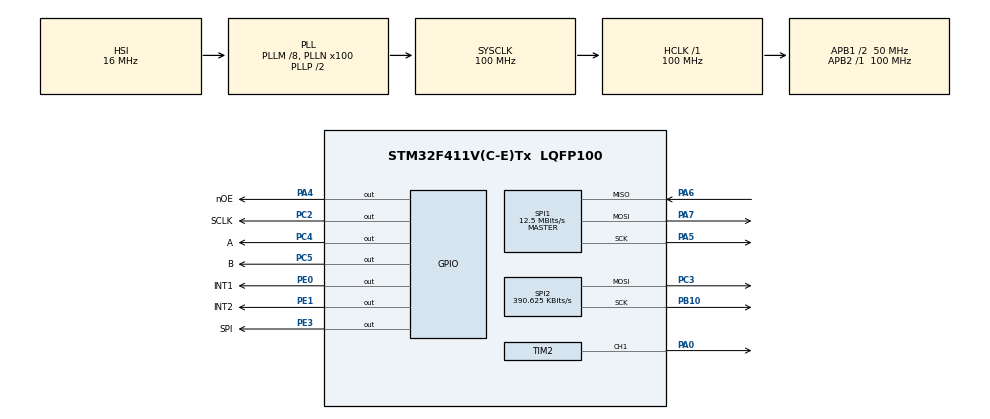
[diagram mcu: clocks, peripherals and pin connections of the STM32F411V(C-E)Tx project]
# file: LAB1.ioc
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Mcu.Family=STM32F4
Mcu.Name=STM32F411V(C-E)Tx
Mcu.Package=LQFP100
NVIC.PriorityGroup=NVIC_PRIORITYGROUP_4
NVIC.TIM1_UP_TIM10_IRQn=true\:0\:0\:false\:false\:true\:true\:true\:true
PA0-WKUP.Signal=S_TIM2_CH1_ETR
PA13.Mode=Serial_Wire
PA13.Signal=SYS_JTMS-SWDIO
PA14.Mode=Serial_Wire
PA14.Signal=SYS_JTCK-SWCLK
PA4.GPIO_Label=nOE
PA4.Signal=GPIO_Output
PA5.Mode=Full_Duplex_Master
PA5.Signal=SPI1_SCK
PA6.Mode=Full_Duplex_Master
PA6.Signal=SPI1_MISO
PA7.Mode=Full_Duplex_Master
PA7.Signal=SPI1_MOSI
PB10.Mode=TX_Only_Simplex_Unidirect_Master
PB10.Signal=SPI2_SCK
PC2.GPIO_Label=SCLK
PC2.Signal=GPIO_Output
PC3.Mode=TX_Only_Simplex_Unidirect_Master
PC3.Signal=SPI2_MOSI
PC4.GPIO_Label=A
PC4.Signal=GPIO_Output
PC5.GPIO_Label=B
PC5.Signal=GPIO_Output
PE0.GPIO_Label=INT1
PE0.Signal=GPIO_Output
PE1.GPIO_Label=INT2
PE1.Signal=GPIO_Output
PE3.GPIO_Label=SPI
PE3.Signal=GPIO_Output
PH0\ -\ OSC_IN.Mode=HSE-External-Oscillator
PH0\ -\ OSC_IN.Signal=RCC_OSC_IN
PH1\ -\ OSC_OUT.Mode=HSE-External-Oscillator
PH1\ -\ OSC_OUT.Signal=RCC_OSC_OUT
ProjectManager.HeapSize=0x200
ProjectManager.StackSize=0x400
ProjectManager.TargetToolchain=STM32CubeIDE
RCC.48MHZClocksFreq_Value=50000000
RCC.AHBFreq_Value=100000000
RCC.APB1CLKDivider=RCC_HCLK_DIV2
RCC.APB1Freq_Value=50000000
RCC.APB1TimFreq_Value=100000000
RCC.APB2Freq_Value=100000000
RCC.APB2TimFreq_Value=100000000
RCC.CortexFreq_Value=100000000
RCC.HCLKFreq_Value=100000000
RCC.HSE_VALUE=25000000
RCC.HSI_VALUE=16000000
RCC.LSE_VALUE=32768
RCC.PLLM=8
RCC.PLLN=100
RCC.SYSCLKFreq_VALUE=100000000
RCC.SYSCLKSource=RCC_SYSCLKSOURCE_PLLCLK
RCC.VCOOutputFreq_Value=200000000
SH.S_TIM2_CH1_ETR.0=TIM2_CH1,PWM Generation1 CH1
SPI1.BaudRatePrescaler=SPI_BAUDRATEPRESCALER_8
SPI1.CalculateBaudRate=12.5 MBits/s
SPI1.Direction=SPI_DIRECTION_2LINES
SPI1.Mode=SPI_MODE_MASTER
SPI1.VirtualType=VM_MASTER
SPI2.BaudRatePrescaler=SPI_BAUDRATEPRESCALER_128
SPI2.CalculateBaudRate=390.625 KBits/s
SPI2.Direction=SPI_DIRECTION_2LINES
SPI2.Mode=SPI_MODE_MASTER
SPI2.VirtualType=VM_MASTER
TIM1.Period=1000-1
TIM1.Prescaler=1000-1
TIM2.Channel-PWM\ Generation1\ CH1=TIM_CHANNEL_1
VP_TIM1_VS_ClockSourceINT.Mode=Internal
VP_TIM2_VS_ClockSourceINT.Mode=Internal
board=custom

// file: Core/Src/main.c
/* USER CODE BEGIN Header */
/**
  ******************************************************************************
  * @file           : main.c
  * @brief          : Main program body
  ******************************************************************************
  * @attention
  *
  * Copyright (c) 2023 STMicroelectronics.
  * All rights reserved.
  *
  * This software is licensed under terms that can be found in the LICENSE file
  * in the root directory of this software component.
  * If no LICENSE file comes with this software, it is provided AS-IS.
  *
  ******************************************************************************
  */
/* USER CODE END Header */
#include "main.h"
#include "spi.h"
#include "tim.h"
#include "gpio.h"
#include "Accelerometer.h"
#include "Gyro.h"

/* USER CODE BEGIN PD */
#define DUMMY                                                    0x00
#define TIMEOUT_TIME                                             0x1000

// Размеры экрана в пикселях
#define DISPLAY_Height 16
#define DISPLAY_Width 32
/* USER CODE END PD */

/* USER CODE BEGIN PV */

volatile float gX = 0, gY = 0;
volatile float GyroErrorX = 0, GyroErrorY = 0;
volatile float AngleX = 0, AngleY = 0, AngleZ = 0;
uint8_t x0 = 16, y0 = 8;
int8_t x = 0, y = 0;
uint8_t radius = 0;

uint16_t rot = 200;
uint16_t c = 0;

extern uint8_t data1[16], data2[16], data3[16], data4[16];
/* USER CODE END PV */

void SystemClock_Config(void);

/* USER CODE BEGIN 0 */
void disp_row(int row){

	  if (row == 0){

		  for(uint8_t i=0; i<6; i++){
		  		HAL_SPI_Transmit(&hspi2, &data1, 16, 10);
		  }

		  HAL_GPIO_WritePin(SCLK_GPIO_Port, SCLK_Pin, GPIO_PIN_RESET);
		  HAL_GPIO_WritePin(SCLK_GPIO_Port, SCLK_Pin, GPIO_PIN_SET);

		  HAL_GPIO_WritePin(A_GPIO_Port, A_Pin, GPIO_PIN_RESET);
		  HAL_GPIO_WritePin(B_GPIO_Port, B_Pin, GPIO_PIN_RESET);
	  }
	  if (row == 1){

		  for(uint8_t i=0; i<6; i++){
		  		HAL_SPI_Transmit(&hspi2, &data2, 16, 10);
		  }

		  HAL_GPIO_WritePin(SCLK_GPIO_Port, SCLK_Pin, GPIO_PIN_RESET);
		  HAL_GPIO_WritePin(SCLK_GPIO_Port, SCLK_Pin, GPIO_PIN_SET);

		  HAL_GPIO_WritePin(A_GPIO_Port, A_Pin, GPIO_PIN_SET);
		  HAL_GPIO_WritePin(B_GPIO_Port, B_Pin, GPIO_PIN_RESET);
	  }

	  if (row == 2){

		  for(uint8_t i=0; i<6; i++){
		  		HAL_SPI_Transmit(&hspi2, &data3, 16, 10);
		  }

		  HAL_GPIO_WritePin(SCLK_GPIO_Port, SCLK_Pin, GPIO_PIN_RESET);
		  HAL_GPIO_WritePin(SCLK_GPIO_Port, SCLK_Pin, GPIO_PIN_SET);

		  HAL_GPIO_WritePin(A_GPIO_Port, A_Pin, GPIO_PIN_RESET);
		  HAL_GPIO_WritePin(B_GPIO_Port, B_Pin, GPIO_PIN_SET);
	  }

	  if (row == 3){

		  for(uint8_t i=0; i<6; i++){
		  		HAL_SPI_Transmit(&hspi2, &data4, 16, 10);
		  }

		  HAL_GPIO_WritePin(SCLK_GPIO_Port, SCLK_Pin, GPIO_PIN_RESET);
		  HAL_GPIO_WritePin(SCLK_GPIO_Port, SCLK_Pin, GPIO_PIN_SET);

		  HAL_GPIO_WritePin(A_GPIO_Port, A_Pin, GPIO_PIN_SET);
		  HAL_GPIO_WritePin(B_GPIO_Port, B_Pin, GPIO_PIN_SET);
	  }

	  HAL_GPIO_WritePin(nOE_GPIO_Port, nOE_Pin, GPIO_PIN_SET);
		  for(uint32_t x=0; x<=300; x++) {};
	 HAL_GPIO_WritePin(nOE_GPIO_Port, nOE_Pin, GPIO_PIN_RESET);
  }

void DrawFillCircle(int16_t X, int16_t Y, uint8_t Radius){
	for(int r = 0; r<Radius; r++)
		disp1color_DrawCircle(X, Y, r);
}

void GyroCalculateError() {

	while (c < rot) {
		gX = GetAxisValue(0x2A, 0x2B);
		GyroErrorX += gX;
		gY = GetAxisValue(0x28, 0x29);
		GyroErrorY += gY;
		c++;
	}
	GyroErrorX = GyroErrorX / rot;
	GyroErrorY = GyroErrorY / rot;
}
/* USER CODE END 0 */

int main(void)
{

  /* MCU Configuration--------------------------------------------------------*/

  /* Reset of all peripherals, Initializes the Flash interface and the Systick. */
  HAL_Init();

  /* Configure the system clock */
  SystemClock_Config();

  /* Initialize all configured peripherals */
  MX_GPIO_Init();
  MX_SPI1_Init();
  MX_SPI2_Init();
  MX_TIM1_Init();
  MX_TIM2_Init();
  GyroInit();
  AccelerometerInit();
  HAL_Delay(1000);
  GyroCalculateError();
  /* USER CODE BEGIN 2 */
  HAL_TIM_Base_Start_IT(&htim1);
  /* USER CODE END 2 */

  /* Infinite loop */
  while (1)
  {
	  //GyroCalculateError();
	  x = AngleX/6; y = AngleY/6;
	  radius = 3;

	  if (x0 + x + radius > DISPLAY_Width) x = DISPLAY_Width - x0 - radius;
	  else if (x0 + x - radius+1 < 0) x = -x0 + radius-1;

	  if (y0 + y + radius > DISPLAY_Height) y = DISPLAY_Height - y0 - radius;
	  else if (y0 + y - radius+1 < 0) y = -y0 + radius-1;

	  disp1color_FillScreenbuff(0);
	  DrawFillCircle(x0+x, y0+y, radius);
	  disp1color_UpdateFromBuff();
	  prepare_data();

	  for(uint8_t i=0; i<20; i++){
		  disp_row(0);
		  disp_row(1);
		  disp_row(2);
		  disp_row(3);
	  }
  }
}

void SystemClock_Config(void)
{
  RCC_OscInitTypeDef RCC_OscInitStruct = {0};
  RCC_ClkInitTypeDef RCC_ClkInitStruct = {0};

  /** Configure the main internal regulator output voltage
  */
  __HAL_RCC_PWR_CLK_ENABLE();
  __HAL_PWR_VOLTAGESCALING_CONFIG(PWR_REGULATOR_VOLTAGE_SCALE1);

  /** Initializes the RCC Oscillators according to the specified parameters
  * in the RCC_OscInitTypeDef structure.
  */
  RCC_OscInitStruct.OscillatorType = RCC_OSCILLATORTYPE_HSI;
  RCC_OscInitStruct.HSIState = RCC_HSI_ON;
  RCC_OscInitStruct.HSICalibrationValue = RCC_HSICALIBRATION_DEFAULT;
  RCC_OscInitStruct.PLL.PLLState = RCC_PLL_ON;
  RCC_OscInitStruct.PLL.PLLSource = RCC_PLLSOURCE_HSI;
  RCC_OscInitStruct.PLL.PLLM = 8;
  RCC_OscInitStruct.PLL.PLLN = 100;
  RCC_OscInitStruct.PLL.PLLP = RCC_PLLP_DIV2;
  RCC_OscInitStruct.PLL.PLLQ = 4;
  if (HAL_RCC_OscConfig(&RCC_OscInitStruct) != HAL_OK)
  {
    Error_Handler();
  }

  /** Initializes the CPU, AHB and APB buses clocks
  */
  RCC_ClkInitStruct.ClockType = RCC_CLOCKTYPE_HCLK|RCC_CLOCKTYPE_SYSCLK
                              |RCC_CLOCKTYPE_PCLK1|RCC_CLOCKTYPE_PCLK2;
  RCC_ClkInitStruct.SYSCLKSource = RCC_SYSCLKSOURCE_PLLCLK;
  RCC_ClkInitStruct.AHBCLKDivider = RCC_SYSCLK_DIV1;
  RCC_ClkInitStruct.APB1CLKDivider = RCC_HCLK_DIV2;
  RCC_ClkInitStruct.APB2CLKDivider = RCC_HCLK_DIV1;

  if (HAL_RCC_ClockConfig(&RCC_ClkInitStruct, FLASH_LATENCY_3) != HAL_OK)
  {
    Error_Handler();
  }
}

void Error_Handler(void)
{
  __disable_irq();
  while (1)
  {
  }
}
